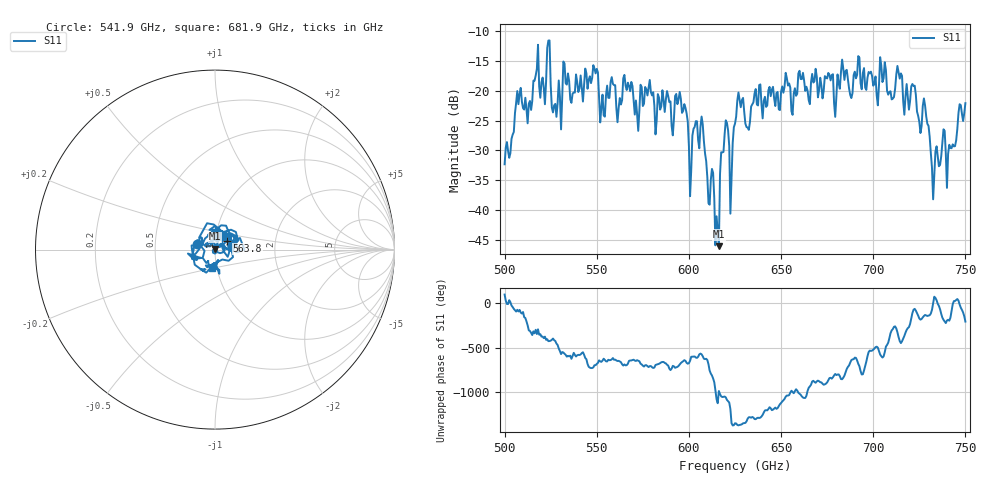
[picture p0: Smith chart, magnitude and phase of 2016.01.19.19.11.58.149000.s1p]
!Created with skrf (http://scikit-rf.org).
# GHz S RI R 50.0
!freq ReS11 ImS11
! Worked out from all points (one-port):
!   401 points, 500 GHz to 750 GHz, reference 50 ohm
!   lowest |S11| = -46.0 dB at 616.2 GHz (marker M1), VSWR 1.01, Z = 50 + j0.497 ohm
!   |S11| at or under -10 dB: start of sweep to end of sweep
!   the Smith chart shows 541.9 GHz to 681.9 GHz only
!   S11 on the Smith chart (normalised r, x): 541.9 GHz: 0.82, +0.05; 563.8 GHz: 1.14, +0.11; 681.9 GHz: 0.95, -0.20
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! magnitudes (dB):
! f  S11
! 500 GHz  -32.3
! 516.9 GHz  -17.4
! 520.6 GHz  -17.8
! 523.8 GHz  -11.6
! 526.9 GHz  -22.5
! 531.2 GHz  -21.2
! 541.9 GHz  -19.5
! 549.4 GHz  -17.1
! 553.1 GHz  -20.7
! 558.8 GHz  -18.9
! 562.5 GHz  -21.2
! 563.8 GHz  -21.6
! 593.8 GHz  -22.3
! 600.6 GHz  -37.7
! 607.5 GHz  -25.7
! 615 GHz  -41.0
! 616.2 GHz  -46.0
! 619.4 GHz  -27.3
! 623.1 GHz  -34.9
! 625 GHz  -25.5
! 656.2 GHz  -24.0
! 681.9 GHz  -19.7
! 687.5 GHz  -20.7
! 705 GHz  -18.6
! 718.8 GHz  -21.0
! 728.1 GHz  -22.5
! 732.5 GHz  -38.2
! 750 GHz  -22.1
